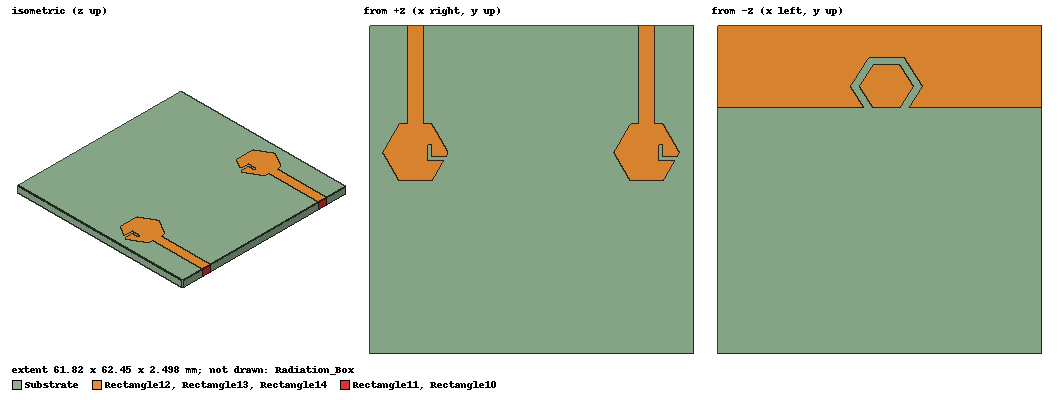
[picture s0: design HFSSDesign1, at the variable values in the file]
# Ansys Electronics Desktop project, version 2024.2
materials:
  vacuum: permittivity=1
  FR4_epoxy: permittivity=4.4 dielectric_loss_tangent=0.02
  air: permittivity=1.0006 permeability=1.0000004

design HFSSDesign1 (HFSS, HFSS Terminal Network, model units mm)
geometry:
  Rectangle2 = rectangle(corner=(30mm, 0mm, 0mm), x_size=-2mm, y_size=-8mm)
  Rectangle3 = rectangle(corner=(6mm, 0mm, 0mm), x_size=2mm, y_size=-8mm)
  Polygon1 = regular_polygon(axis=Z, centre=(7.5mm, -11mm, 0mm), first_corner=(3.5mm, -11mm, 0mm), sides=6)
  Polygon1.move(-0.5mm, -0.46410162mm, 0mm)
  Polygon1_1 = Polygon1.duplicate_along_line(step=(22mm, 0mm, 0mm), total=2)
  Rectangle5 = rectangle(corner=(8.5mm, -12.5mm, 0mm), x_size=2.5mm, y_size=0.5mm)
  Rectangle6 = rectangle(corner=(9mm, -12.5mm, 0mm), x_size=-0.5mm, y_size=2mm)
  Rectangle8 = rectangle(corner=(30.5mm, -12.5mm, 0mm), x_size=2.5mm, y_size=0.5mm)
  Rectangle9 = rectangle(corner=(31mm, -12.5mm, 0mm), x_size=-0.5mm, y_size=2mm)
  Rectangle6.unite(Rectangle5)
  Rectangle8.unite(Rectangle9)
  Polygon1_1.subtract(Rectangle8)
  Polygon1.subtract(Rectangle6)
  Polygon1_1.unite(Rectangle2)
  Polygon1.unite(Rectangle3)
  Substrate [FR4_epoxy] = box(corner=(36mm, 0mm, 0mm), size=(-36mm, -40mm, -1.6mm))
  Rectangle10 = rectangle(corner=(30mm, 0mm, 0mm), z_size=-1.6mm, x_size=-2mm)
  Rectangle11 = rectangle(corner=(8mm, 0mm, 0mm), z_size=-1.6mm, x_size=-2mm)
  Rectangle12 = rectangle(corner=(0mm, 0mm, -1.6mm), x_size=36mm, y_size=-10mm)
  Polyline1 = polyline(z=-1.6mm, xy in mm: (18.75, -10) (19.75, -10) (21.25, -7.4019238) (19.25, -3.9378222) (15.25, -3.9378222) (13.25, -7.4019238) (14.75, -10) (15.75, -10) (14.25, -7.4019238) (15.75, -4.8038476) (18.75, -4.8038476) (20.25, -7.4019238) (18.75, -10), closed, covered)
  Rectangle12.subtract(Polyline1)
  Radiation_Box [air] = box(corner=(-10mm, 10mm, -10mm), size=(56mm, -60mm, 20mm))
  [Polygon1_1, Polygon1].move(0mm, -4mm, 0mm)
  Rectangle13 = rectangle(corner=(30mm, -4mm, 0mm), x_size=-2mm, y_size=4mm)
  Rectangle14 = rectangle(corner=(8mm, -4mm, 0mm), x_size=-2mm, y_size=4mm)
  Rectangle13.unite(Polygon1_1)
  Rectangle14.unite(Polygon1)
  [Rectangle13, Rectangle10].move(2mm, 0mm, 0mm)
  [Rectangle14, Rectangle11].move(-2mm, 0mm, 0mm)
  [Rectangle12, Substrate].scale(1.1, 1, 1)
  [Rectangle13, Rectangle10].move(4mm, 0mm, 0mm)
  [Substrate, Rectangle10, Rectangle11, Rectangle12, Radiation_Box, Rectangle13, Rectangle14].scale(1.2, 1.2, 1.2)
  [Rectangle13, Rectangle10].move(-4mm, 0mm, 0mm)
  [Rectangle14, Rectangle11].move(4mm, 0mm, 0mm)
  [Substrate, Rectangle10, Rectangle11, Rectangle12, Radiation_Box, Rectangle13, Rectangle14].scale(1.2, 1.2, 1.2)
  [Substrate, Rectangle10, Rectangle11, Rectangle12, Radiation_Box, Rectangle13, Rectangle14].scale(0.4, 0.4, 0.4)
  [Substrate, Rectangle10, Rectangle11, Rectangle12, Radiation_Box, Rectangle13, Rectangle14].scale(1.4, 1.4, 1.4)
  [Substrate, Rectangle10, Rectangle11, Rectangle12, Radiation_Box, Rectangle13, Rectangle14].scale(1.1, 1.1, 1.1)
  [Rectangle14, Rectangle11].move(-1.392mm, 0mm, 0mm)
  [Substrate, Rectangle10, Rectangle11, Rectangle12, Radiation_Box, Rectangle13, Rectangle14].scale(2, 2, 2)
  [Rectangle13, Rectangle10].move(3.8208mm, 0mm, 0mm)
  [Rectangle14, Rectangle11].move(-2mm, 0mm, 0mm)
  [Substrate, Rectangle10..Rectangle14].scale(1.1, 1.1, 1.1)
  [Substrate, Rectangle10..Rectangle14].scale(0.8, 0.8, 0.8)
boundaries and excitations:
  Rad1: Radiation Objects=Radiation_Box
  PerfE1: Perfect E Objects=Rectangle13
  PerfE2: Perfect E Objects=Rectangle14
  PerfE3: Perfect E Objects=Rectangle12
  1: Lumped Port Objects=Rectangle10 LumpedPortType=Modal Modes{Mode1{IntLine{(52.64388096, 0, -2.49790464) -> (52.64388096, 0, 0)} CharImp=Zpi RenormImp=50ohm}} Impedance=50ohm
  2: Lumped Port Objects=Rectangle11 LumpedPortType=Modal Modes{Mode1{IntLine{(8.64388096, 0, -2.49790464) -> (8.64388096, 0, 0)} CharImp=Zpi RenormImp=50ohm}} Impedance=50ohm
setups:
  Setup1: HfssDriven Frequency=3.5GHz MaxDeltaS=0.02 MaximumPasses=10 MinimumPasses=1 MinimumConvergedPasses=1 PercentRefinement=30 BasisOrder=1 PortAccuracy=2 DrivenSolverType="Direct Solver"
    sweep Sweep: 1GHz to 7GHz step 0.05GHz; Type=Fast SaveFields
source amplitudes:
  1:1, 2:1: 1W 0deg
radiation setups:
  Infinite Sphere1: Infinite Sphere Theta=0deg..360deg step 2deg Phi=0deg..360deg step 2deg
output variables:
  ECC = (mag(conjg(S(1,1))*S(1,2)+conjg(S(2,1))*S(2,2)))^2/((1-mag(S(1,1))^2-mag(S(2,1))^2)*(1-mag(S(2,2))^2-mag(S(1,2))^2))
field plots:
  Mag_Jsurf3: Jsurf over Rectangle14.face(at (8.8, -14.7753, 0)) on Setup1 : LastAdaptive at Freq=3.5GHz Phase=0deg
  Mag_Jsurf4: Jsurf over Rectangle13.face(at (52.8, -14.7753, 0)) on Setup1 : LastAdaptive at Freq=3.5GHz Phase=0deg
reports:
  Terminal S Parameter Plot 1: dB(St(1,1)), dB(St(2,2)) vs Freq on Setup1 : Sweep; markers m1 at 3.4GHz, m2 at 3.5GHz, m3 at 3.75GHz, m4 at 3.85GHz, m5 at 4.25GHz, m6 at 5.3GHz, m7 at 6GHz
  rE Plot 1: dB(rETotal) vs Phi, Theta on Setup1 : LastAdaptive, Infinite Sphere1 [Freq=3.5GHz]
  Terminal S Parameter Plot 2: dB(St(2,1)), dB(St(1,2)) vs Freq on Setup1 : Sweep; markers m1 at 4.15GHz
  Gain Plot 1: dB(GainTotal) vs Theta on Setup1 : LastAdaptive, Infinite Sphere1 [Phi=all Freq=3.5GHz]
  Output Variables Table 1: mag(ECC) vs Freq on Setup1 : Sweep
